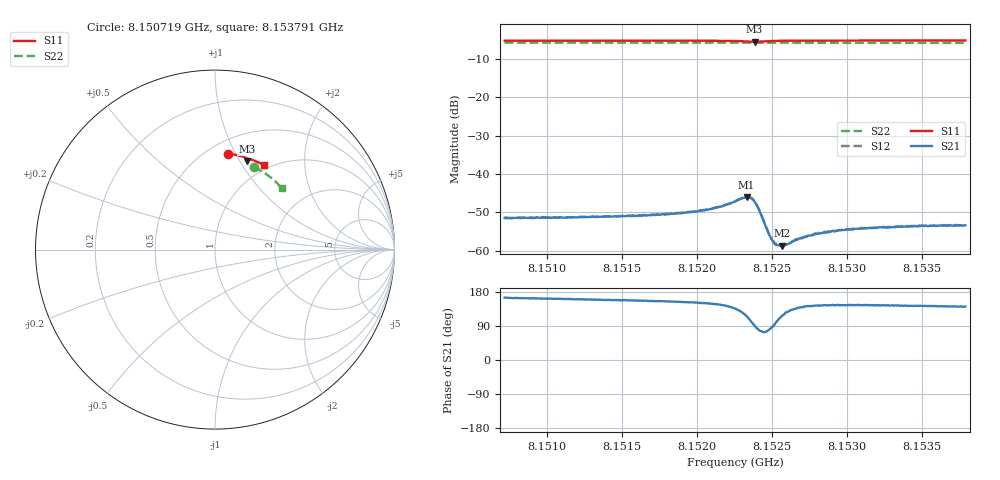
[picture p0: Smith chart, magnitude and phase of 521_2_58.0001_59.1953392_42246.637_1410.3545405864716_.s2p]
#  HZ  S  RI  R  50.00
! Rohde & Schwarz Vector Network Analyzer
! Rohde-Schwarz,ZNB20-2Port,1311601062101988,3.16
! Created: UTC 3/21/2024, 1:13:42 AM
! freq[Hz]  re:S11  im:S11  re:S21  im:S21  re:S12  im:S12  re:S22  im:S22
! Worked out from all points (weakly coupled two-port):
!   401 points, 8.150719 GHz to 8.153791 GHz, reference 50 ohm
!   highest |S21| = -45.99 dB at 8.152331 GHz (marker M1); lowest = -58.6 dB at 8.15257 GHz (marker M2)
!   lowest |S11| = -5.6 dB at 8.152385 GHz (marker M3), VSWR 3.19, Z = 39.5 + j53.5 ohm
!   |S11| at or under -10 dB: nowhere
!   |S22| runs from -5.9 to -5.8 dB; largest |S21 - S12| = 0.00013
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8.1507186e9  0.0719 0.5343  -0.00258 0.000714  -0.00258 0.000793  0.2183 0.4611
8.1512331e9  0.1075 0.5291  -0.0026 0.000918  -0.00262 0.00099  0.2476 0.4454
8.1517477e9  0.1435 0.5212  -0.0027 0.00124  -0.00267 0.00128  0.2754 0.4278
8.1519704e9  0.1594 0.5164  -0.00283 0.00151  -0.00281 0.00154  0.2871 0.4197
8.1520626e9  0.1663 0.5139  -0.00298 0.00173  -0.00296 0.0018  0.2919 0.4162
8.1521548e9  0.1736 0.5107  -0.00311 0.00208  -0.00308 0.00218  0.2966 0.4127
8.1522546e9  0.1815 0.5043  -0.00317 0.00304  -0.00315 0.00313  0.3016 0.4086
8.1523314e9  0.1832 0.495  -0.0022 0.00451  -0.00214 0.00457  0.3053 0.4054
8.1523621e9  0.1799 0.4921  -0.000988 0.00477  -0.000923 0.00478  0.3065 0.4042
8.1523852e9  0.1766 0.4924  -4.7e-05 0.00439  2.56e-06 0.00442  0.3074 0.4034
8.1524159e9  0.1741 0.4961  0.000678 0.00332  0.000702 0.00333  0.3089 0.4023
8.1524773e9  0.178 0.5027  0.00034 0.0017  0.000354 0.00169  0.312 0.4002
8.1525081e9  0.1814 0.5041  3.1e-05 0.00136  2.45e-05 0.00132  0.3137 0.399
8.1525311e9  0.1839 0.5046  -0.000221 0.00118  -0.000201 0.00121  0.3148 0.3981
8.1525695e9  0.1876 0.5048  -0.000533 0.00104  -0.000512 0.00104  0.3167 0.3966
8.1526079e9  0.1913 0.5045  -0.000752 0.000967  -0.000759 0.00101  0.3186 0.3951
8.1526617e9  0.1958 0.5036  -0.001 0.000994  -0.000998 0.001  0.3213 0.3927
8.1527692e9  0.2042 0.5012  -0.00127 0.000981  -0.00127 0.000993  0.3266 0.3883
8.1528921e9  0.2128 0.4982  -0.00145 0.00104  -0.00147 0.00104  0.3324 0.3829
8.1529919e9  0.2198 0.4955  -0.00154 0.0011  -0.00156 0.0011  0.337 0.3787
8.1532838e9  0.239 0.4873  -0.00165 0.00121  -0.00164 0.00121  0.3503 0.366
8.1537907e9  0.2707 0.4715  -0.00168 0.00135  -0.0017 0.00141  0.3721 0.3425
